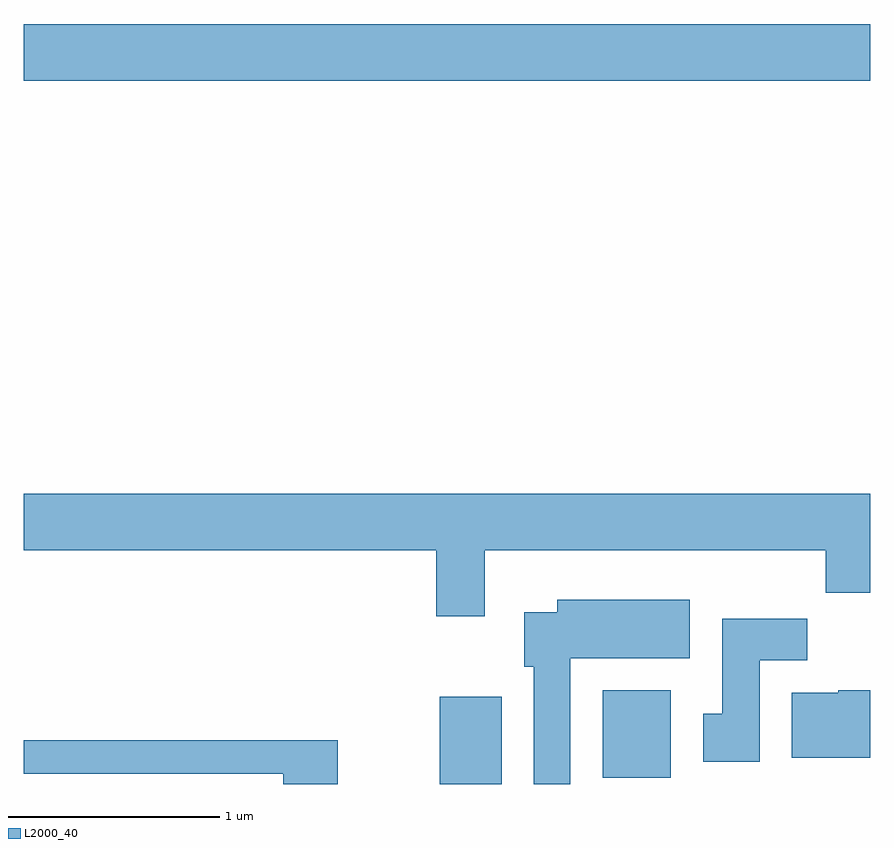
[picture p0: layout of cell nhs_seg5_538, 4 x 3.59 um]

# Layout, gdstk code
import gdstk
lib = gdstk.Library(unit=1e-6, precision=1e-09)
def R(c, l, rs):  # rectangles x0, y0, x1, y1
    for r in rs: c.add(gdstk.rectangle(r[:2], r[2:], *l))
def P(c, l, *ps):  # polygons
    for p in ps: c.add(gdstk.Polygon(p, *l))
L2000_40 = (2000, 40)

nhs_seg5_538 = lib.new_cell('nhs_seg5_538')
R(nhs_seg5_538, L2000_40, [(201.576,1520.072,201.869,1520.484), (202.346,1520.101,202.669,1520.514), (199.611,1523.396,203.611,1523.664)])
P(nhs_seg5_538, L2000_40, [(201.789,1521.176),(203.401,1521.176),(203.401,1520.976),(203.611,1520.976),(203.611,1521.444),(199.611,1521.444),(199.611,1521.176),(201.561,1521.176),(201.561,1520.866),(201.789,1520.866)],
  [(202.194,1520.666),(202.759,1520.666),(202.759,1520.944),(202.131,1520.944),(202.131,1520.884),(201.976,1520.884),(201.976,1520.626),(202.021,1520.626),(202.021,1520.072),(202.194,1520.072)],
  [(203.089,1520.656),(203.314,1520.656),(203.314,1520.854),(202.911,1520.854),(202.911,1520.404),(202.821,1520.404),(202.821,1520.176),(203.089,1520.176)],
  [(203.611,1520.514),(203.46,1520.514),(203.46,1520.504),(203.241,1520.504),(203.241,1520.196),(203.611,1520.196)],
  [(201.094,1520.279),(199.611,1520.279),(199.611,1520.121),(200.836,1520.121),(200.836,1520.072),(201.094,1520.072)])

lib.write_gds('nhs_seg5_538.gds')
